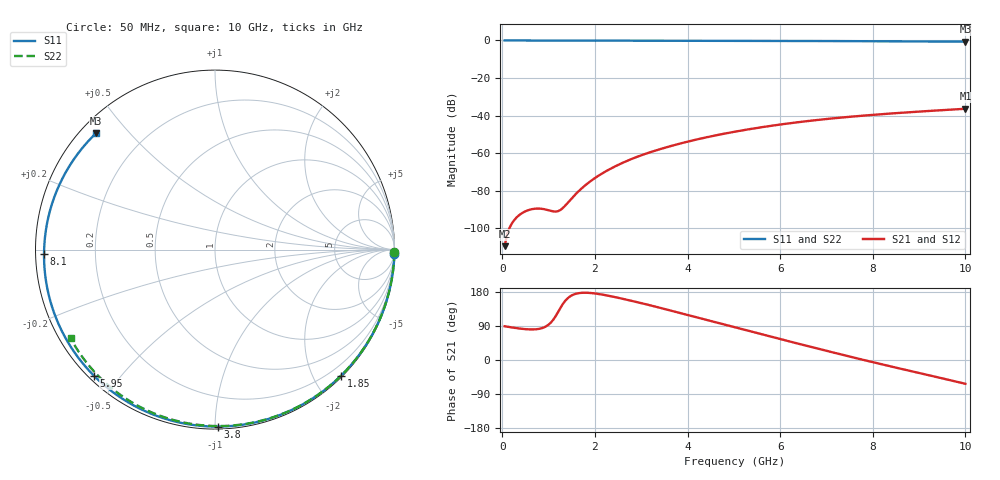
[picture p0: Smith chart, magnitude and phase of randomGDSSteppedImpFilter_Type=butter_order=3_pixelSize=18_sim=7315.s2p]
! freq	dB(S11)	phase(S11)	dB(S12)	phase(S12)
!  dB(S21)	phase(S21)	dB(S22)	phase(S22)
!S-par simulation data
#  GHz  S  DB  R 50
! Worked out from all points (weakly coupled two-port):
!   200 points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, 50 MHz to 10 GHz, reference 50 ohm
!   highest |S21| = -36.35 dB at 10 GHz (marker M1); lowest = -109.5 dB at 50 MHz (marker M2)
!   lowest |S11| = -0.7 dB at 10 GHz (marker M3), VSWR 26.53, Z = 2.2 + j20.3 ohm
!   |S11| at or under -10 dB: nowhere
!   |S22| runs from -0.5 to 0.0 dB; largest |S21 - S12| = 0
!   S11 on the Smith chart (normalised r, x): 50 MHz: 0, -91; 1.85 GHz: 0.02, -2.41; 3.8 GHz: 0.01, -1.02; 5.95 GHz: 0.02, -0.43; 8.1 GHz: 0.02, -0.01; 10 GHz: 0.04, +0.41
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0.05  -0.00 -1.3  -109.47 89.1  -109.47 89.1  -0.00 -0.9
0.8  -0.03 -19.8  -89.49 82.4  -89.49 82.4  -0.02 -13.7
1.2  -0.04 -29.5  -90.88 125.6  -90.88 125.6  -0.03 -20.5
1.65  -0.05 -40.4  -80.18 176.3  -80.18 176.3  -0.04 -28.0
1.75  -0.05 -42.7  -77.94 177.5  -77.94 177.5  -0.04 -29.7
1.85  -0.06 -45.1  -75.92 177.3  -75.92 177.3  -0.04 -31.3
2.15  -0.07 -52.2  -70.87 172.8  -70.87 172.8  -0.05 -36.3
2.5  -0.08 -60.2  -66.25 164.2  -66.25 164.2  -0.05 -42.0
2.9  -0.09 -69.3  -62.03 153.0  -62.03 153.0  -0.06 -48.4
3.4  -0.11 -80.4  -57.90 137.9  -57.90 137.9  -0.07 -56.3
3.8  -0.12 -89.1  -55.12 125.1  -55.12 125.1  -0.09 -62.5
4.4  -0.14 -101.9  -51.59 105.9  -51.59 105.9  -0.10 -71.7
5.05  -0.18 -115.4  -48.43 85.3  -48.43 85.3  -0.13 -81.3
5.95  -0.23 -133.8  -44.91 56.9  -44.91 56.9  -0.16 -94.2
6.7  -0.29 -149.1  -42.60 33.5  -42.60 33.5  -0.20 -104.6
7.4  -0.35 -163.6  -40.85 12.1  -40.85 12.1  -0.25 -114.0
8.1  -0.42 -178.6  -39.41 -8.6  -39.41 -8.6  -0.30 -123.3
8.35  -0.45 175.8  -38.95 -15.8  -38.95 -15.8  -0.33 -126.6
8.8  -0.50 165.6  -38.18 -28.7  -38.18 -28.7  -0.37 -132.6
9.2  -0.55 156.1  -37.54 -40.0  -37.54 -40.0  -0.41 -137.8
9.6  -0.60 146.2  -36.93 -51.3  -36.93 -51.3  -0.45 -143.1
10  -0.66 135.8  -36.35 -62.8  -36.35 -62.8  -0.50 -148.4
